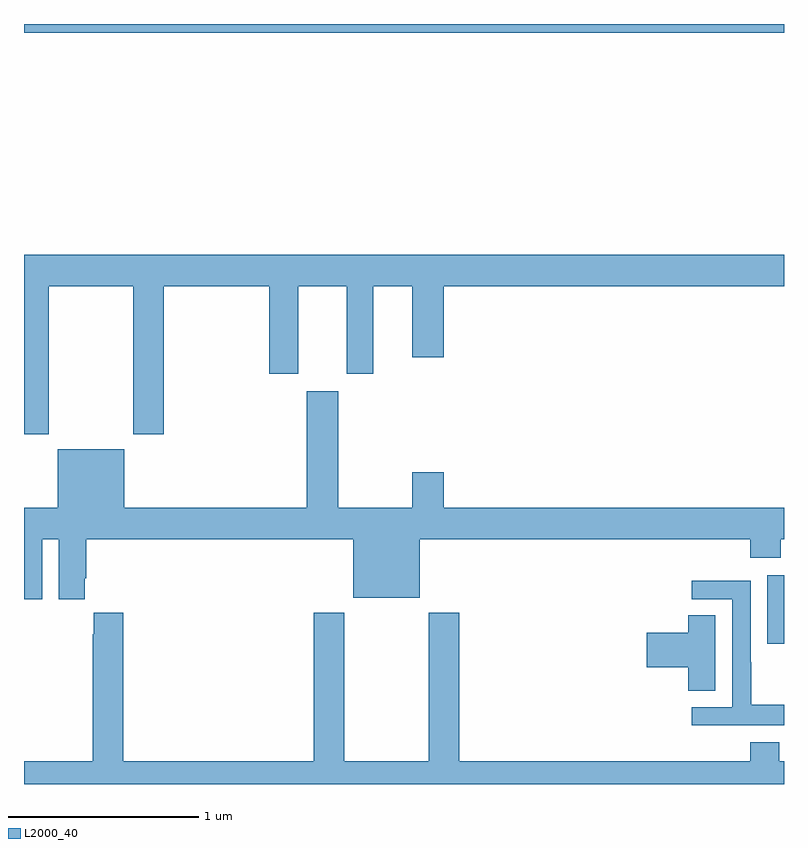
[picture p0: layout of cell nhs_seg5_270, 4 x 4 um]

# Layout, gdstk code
import gdstk
lib = gdstk.Library(unit=1e-6, precision=1e-09)
def R(c, l, rs):  # rectangles x0, y0, x1, y1
    for r in rs: c.add(gdstk.rectangle(r[:2], r[2:], *l))
def P(c, l, *ps):  # polygons
    for p in ps: c.add(gdstk.Polygon(p, *l))
L2000_40 = (2000, 40)

nhs_seg5_270 = lib.new_cell('nhs_seg5_270')
R(nhs_seg5_270, L2000_40, [(130.913,861.537,131,861.898), (127,864.752,131,864.799)])
P(nhs_seg5_270, L2000_40, [(127.131,863.42),(127.576,863.42),(127.576,862.641),(127.736,862.641),(127.736,863.42),(128.291,863.42),(128.291,862.959),(128.443,862.959),(128.443,863.42),(128.699,863.42),(128.699,862.959),(128.839,862.959),(128.839,863.42),(129.044,863.42),(129.044,863.046),(129.208,863.046),(129.208,863.42),(131,863.42),(131,863.584),(127,863.584),(127,862.641),(127.131,862.641)],
  [(127.096,862.088),(127.184,862.088),(127.184,861.771),(127.321,861.771),(127.321,861.883),(127.328,861.883),(127.328,862.088),(128.732,862.088),(128.732,861.779),(129.082,861.779),(129.082,862.088),(130.823,862.088),(130.823,861.989),(130.983,861.989),(130.983,862.088),(131,862.088),(131,862.252),(129.208,862.252),(129.208,862.441),(129.044,862.441),(129.044,862.252),(128.653,862.252),(128.653,862.867),(128.489,862.867),(128.489,862.252),(127.528,862.252),(127.528,862.561),(127.178,862.561),(127.178,862.252),(127,862.252),(127,861.771),(127.096,861.771)],
  [(131,861.217),(130.827,861.217),(130.827,861.44),(130.824,861.44),(130.824,861.87),(130.515,861.87),(130.515,861.771),(130.728,861.771),(130.728,861.204),(130.515,861.204),(130.515,861.108),(131,861.108)],
  [(131,860.92),(130.975,860.92),(130.975,861.019),(130.823,861.019),(130.823,860.92),(129.29,860.92),(129.29,861.7),(129.13,861.7),(129.13,860.92),(128.685,860.92),(128.685,861.7),(128.525,861.7),(128.525,860.92),(127.523,860.92),(127.523,861.7),(127.367,861.7),(127.367,861.587),(127.363,861.587),(127.363,860.92),(127,860.92),(127,860.799),(131,860.799)],
  [(130.639,861.686),(130.496,861.686),(130.496,861.596),(130.278,861.596),(130.278,861.413),(130.496,861.413),(130.496,861.289),(130.639,861.289)])

lib.write_gds('nhs_seg5_270.gds')
